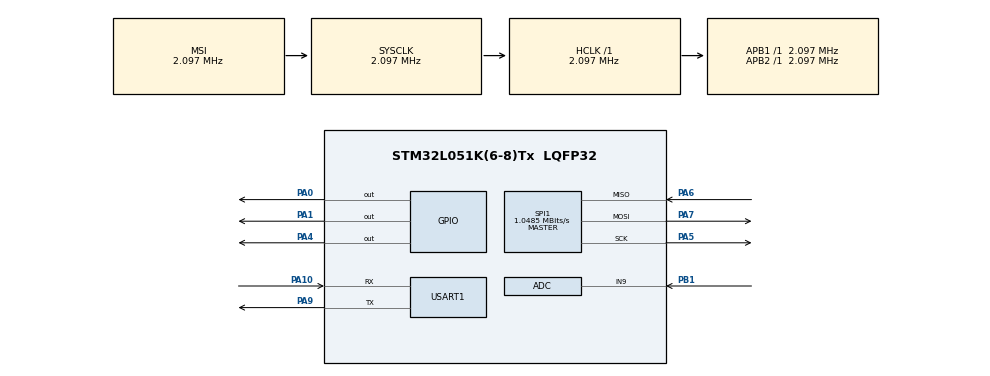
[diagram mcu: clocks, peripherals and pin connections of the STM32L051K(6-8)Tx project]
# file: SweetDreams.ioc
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ADC.ContinuousConvMode=ENABLE
ADC.DMAContinuousRequests=ENABLE
Dma.ADC.0.Direction=DMA_PERIPH_TO_MEMORY
Dma.ADC.0.Instance=DMA1_Channel1
Dma.ADC.0.MemDataAlignment=DMA_MDATAALIGN_BYTE
Dma.ADC.0.MemInc=DMA_MINC_ENABLE
Dma.ADC.0.Mode=DMA_CIRCULAR
Dma.ADC.0.PeriphDataAlignment=DMA_PDATAALIGN_BYTE
Dma.ADC.0.PeriphInc=DMA_PINC_DISABLE
Dma.ADC.0.Priority=DMA_PRIORITY_LOW
Dma.Request0=ADC
Mcu.Family=STM32L0
Mcu.Name=STM32L051K(6-8)Tx
Mcu.Package=LQFP32
NVIC.DMA1_Channel1_IRQn=true\:0\:0\:false\:false\:true\:false\:true\:true
NVIC.RTC_IRQn=true\:0\:0\:true\:false\:true\:true\:true\:true
PA0.PinState=GPIO_PIN_SET
PA0.Signal=GPIO_Output
PA1.Signal=GPIO_Output
PA10.Mode=Asynchronous
PA10.Signal=USART1_RX
PA4.PinState=GPIO_PIN_SET
PA4.Signal=GPIO_Output
PA5.Mode=Full_Duplex_Master
PA5.Signal=SPI1_SCK
PA6.Mode=Full_Duplex_Master
PA6.Signal=SPI1_MISO
PA7.Mode=Full_Duplex_Master
PA7.Signal=SPI1_MOSI
PA9.Mode=Asynchronous
PA9.Signal=USART1_TX
PB1.Mode=IN9
PB1.Signal=ADC_IN9
ProjectManager.HeapSize=0x200
ProjectManager.StackSize=0x400
ProjectManager.TargetToolchain=STM32CubeIDE
RCC.AHBFreq_Value=2097000
RCC.APB1Freq_Value=2097000
RCC.APB1TimFreq_Value=2097000
RCC.APB2Freq_Value=2097000
RCC.APB2TimFreq_Value=2097000
RCC.HCLKFreq_Value=2097000
RCC.HSI16_VALUE=16000000
RCC.HSI_VALUE=16000000
RCC.LSE_VALUE=32768
RCC.MSI_VALUE=2097000
RCC.SYSCLKFreq_VALUE=2097000
RCC.VCOOutputFreq_Value=48000000
RTC.HourFormat=RTC_HOURFORMAT_24
RTC.WakeUpCounter=0x5A56
SPI1.CalculateBaudRate=1.0485 MBits/s
SPI1.Direction=SPI_DIRECTION_2LINES
SPI1.Mode=SPI_MODE_MASTER
SPI1.VirtualType=VM_MASTER
USART1.SwapParam=ADVFEATURE_SWAP_ENABLE
USART1.VirtualMode-Asynchronous=VM_ASYNC
VP_RTC_VS_RTC_Activate.Mode=RTC_Enabled
VP_RTC_VS_RTC_WakeUp_intern.Mode=WakeUp
board=custom

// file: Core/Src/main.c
/* USER CODE BEGIN Header */
/**
  ******************************************************************************
  * @file           : main.c
  * @brief          : Main program body
  ******************************************************************************
  * @attention
  *
  * Copyright (c) 2023 STMicroelectronics.
  * All rights reserved.
  *
  * This software is licensed under terms that can be found in the LICENSE file
  * in the root directory of this software component.
  * If no LICENSE file comes with this software, it is provided AS-IS.
  *
  ******************************************************************************
  */
/* USER CODE END Header */
#include "main.h"

/* USER CODE BEGIN Includes */
#include "bme280.h"
#include "bma456.h"
#include <stdio.h>
#include <string.h>
/* USER CODE END Includes */

/* USER CODE BEGIN PD */
//#define BUFFER_SIZE 128
//#define receive_size 1
#define BITES_TO_SEND 8
/* USER CODE END PD */

ADC_HandleTypeDef hadc;
DMA_HandleTypeDef hdma_adc;

RTC_HandleTypeDef hrtc;

SPI_HandleTypeDef hspi1;

UART_HandleTypeDef huart1;

/* USER CODE BEGIN PV */
//char ATcommand[64];
uint16_t ble_msg_len;
uint16_t i = 0;
//char buffer[BUFFER_SIZE];
//int bufferIndex = 0;
//uint8_t received_byte[10];
char Temp[10];
char Hum[10];
uint16_t adc_buffer[32];
/* USER CODE END PV */

void SystemClock_Config(void);
static void MX_GPIO_Init(void);
static void MX_DMA_Init(void);
static void MX_ADC_Init(void);
static void MX_USART1_UART_Init(void);
static void MX_SPI1_Init(void);
static void MX_RTC_Init(void);

/* USER CODE BEGIN 0 */
#define SENSOR_BUS hspi1;
struct bme280_dev dev;
struct bme280_data comp_data;
void BMA456_SPI_Read(uint8_t reg_addr, uint8_t *reg_data, uint32_t len_addr, uint32_t len_data);
void BMA456_SPI_Write(uint8_t reg_addr, uint8_t reg_data);

void Tensometr();
void Sleep();
void BME_PRINT();
void BMA_PRINT();
uint8_t BMA456_Check_Connection();
void BMA456_Get_Sensor_Data(uint8_t *data_read);
uint8_t data_read[BITES_TO_SEND];
int16_t data_read_readable[3];
char axes[]={'x', 'y','z'};
//void SendMSG(char* cmd){
//	  ble_msg_len= strlen(cmd);
//
//	  strcpy(ATcommand,cmd);
//	  ATcommand[ble_msg_len++]='\r';
////
//
////      received_byte[9] = '\0'; // Null-terminate the buffer
////	  memset( received_byte, 0, 10);
//	  HAL_UART_Transmit(&huart1,(uint8_t *)ATcommand,ble_msg_len,HAL_MAX_DELAY);
//	  HAL_Delay(1000);
//	  for(uint8_t u; u<64; u++){
//		  ATcommand[u]=0;
//	  }
//
//
//}

//void HAL_UART_RxCpltCallback(UART_HandleTypeDef *huart);
void HAL_ADC_ConvHalfCpltCallback(ADC_HandleTypeDef* hadc);
void HAL_ADC_ConvCpltCallback(ADC_HandleTypeDef* hadc);
/* USER CODE END 0 */

int main(void)
{

  /* MCU Configuration--------------------------------------------------------*/

  /* Reset of all peripherals, Initializes the Flash interface and the Systick. */
  HAL_Init();

  /* Configure the system clock */
  SystemClock_Config();

  /* Initialize all configured peripherals */
  MX_GPIO_Init();
  MX_DMA_Init();
  MX_ADC_Init();
  MX_USART1_UART_Init();
  MX_SPI1_Init();
  MX_RTC_Init();
  /* USER CODE BEGIN 2 */
  HAL_Delay(800);
  HAL_ADC_Start_DMA(&hadc, adc_buffer,32);
  //HAL_UART_Receive_IT(&huart1,  received_byte,2);
  HAL_Delay(800);
  int8_t rslt_bme = bme280_init(&dev);
  if (rslt_bme != BME280_OK)
  {
	  while(1);
  }
  HAL_Delay(100);
  uint8_t rslt_bma = BMA456_Check_Connection();
  if(rslt_bma != 1)
  {
	  while(1);
  }
  HAL_Delay(100);
  stream_sensor_data_normal_mode(&dev);
  BMA456_Init();
//  HAL_TIM_Base_Start_IT(&htim6);
  //uint8_t rslt_bme = BME280_Check_Connection(&hspi1);
//  HAL_Delay(1000);
//  HAL_UART_Transmit(&huart1,"^", 1,250);
//  HAL_Delay(250);
//  HAL_UART_Transmit(&huart1,"^", 1,250);
//  HAL_Delay(250);
//  HAL_UART_Transmit(&huart1,"^", 1,250);
//  HAL_Delay(250);
//  HAL_UART_Transmit(&huart1,"^", 1,250);
//  HAL_Delay(1000);
//  SendMSG("AT");
//
//
//  HAL_Delay(1000);
//  SendMSG("AT&F");
//
//
//  HAL_Delay(1000);
//  SendMSG("AT%S 0=\"SweetDreams\""); // ustawienie device name
//
//
//  HAL_Delay(1000);
//  SendMSG("AT%S 1=\"2154657374776961646F6D6F73636921\""); //UUID
//
//
//  HAL_Delay(1000);
//  SendMSG("ATS 100=1"); // VSP And start advertow
//
//
//  HAL_Delay(1000);
//  SendMSG("ATS 100=?"); // VSP And start advertow
//
//
//  HAL_Delay(1000);
//
//  SendMSG("ATS 101=4"); // 4dBm
//
//  HAL_Delay(800);
//  SendMSG("ATS 103=0"); // nazwe ustawia na ta wczesniej wpisana
//
//
//  HAL_Delay(1000);
//  SendMSG("ATS 106=100"); // ustawia 100 sekund na skanowanie
////  HAL_Delay(800);
////  SendMSG("ATS 108=3"); // ustawia tryb advertow dla nonvsp
//
//
//
//
//  HAL_Delay(1000);
//  SendMSG("ATS 109=0");
//  HAL_Delay(1000);
//  SendMSG("ATS 109?");
//  //adc_buffer;
//  HAL_Delay(1000);
// // received_byte[0];
//  SendMSG("ATS 201=200");  // interwal advertow vsp
//
//  HAL_Delay(1000);
//
//  SendMSG("ATS 204=256");  // tx bufor vsp
//
//  HAL_Delay(1000);
//
//  SendMSG("ATS 205=256");  // rx bufor vsp
//
//  HAL_Delay(1000);
//
//  SendMSG("ATS 301=7500");  //vsp connection interval
//
//  HAL_Delay(1000);
//
//
//  SendMSG("AT&W"); // zapis rejestru S
//  HAL_Delay(1000);
//
//
//  SendMSG("ATZ"); //restart
//  HAL_Delay(1000);

//
//  printf("Kuniec \r\n");
  //SendMSG("AT+LSCN, 500"); //start scanowania do vsp z limitem 500 sekund

  HAL_Delay(800);
  /* USER CODE END 2 */

  /* Infinite loop */
  /* USER CODE BEGIN WHILE */
//  uint8_t Sum[2];
//  Sum[0] = rslt_a;
//  Sum[1] = rslt_e;
 // char Sum_s[2][4];

//  itoa(rslt_bma, Sum_s[0], 10);
//  itoa(rslt_bme, Sum_s[1], 10);
//
//  for(int i=strlen(Sum_s[0]); i<=3; i++){
//	  Sum_s[0][i]=' ';
//  }
//
//  for(int i=strlen(Sum_s[1]); i<=3; i++){
//	  Sum_s[1][i]=' ';
//  }

  while (1)
  {
	  	HAL_Delay(100);
	  	Tensometr(adc_buffer);
	  	HAL_Delay(100);
	  	BME_PRINT();
	 	HAL_Delay(200);
	 	BMA_PRINT();
	 	HAL_Delay(200);
		Sleep();
		HAL_Delay(100);
    /* USER CODE END WHILE */

  }
}

void SystemClock_Config(void)
{
  RCC_OscInitTypeDef RCC_OscInitStruct = {0};
  RCC_ClkInitTypeDef RCC_ClkInitStruct = {0};
  RCC_PeriphCLKInitTypeDef PeriphClkInit = {0};

  /** Configure the main internal regulator output voltage
  */
  __HAL_PWR_VOLTAGESCALING_CONFIG(PWR_REGULATOR_VOLTAGE_SCALE1);

  /** Initializes the RCC Oscillators according to the specified parameters
  * in the RCC_OscInitTypeDef structure.
  */
  RCC_OscInitStruct.OscillatorType = RCC_OSCILLATORTYPE_LSI|RCC_OSCILLATORTYPE_MSI;
  RCC_OscInitStruct.LSIState = RCC_LSI_ON;
  RCC_OscInitStruct.MSIState = RCC_MSI_ON;
  RCC_OscInitStruct.MSICalibrationValue = 0;
  RCC_OscInitStruct.MSIClockRange = RCC_MSIRANGE_5;
  RCC_OscInitStruct.PLL.PLLState = RCC_PLL_NONE;
  if (HAL_RCC_OscConfig(&RCC_OscInitStruct) != HAL_OK)
  {
    Error_Handler();
  }

  /** Initializes the CPU, AHB and APB buses clocks
  */
  RCC_ClkInitStruct.ClockType = RCC_CLOCKTYPE_HCLK|RCC_CLOCKTYPE_SYSCLK
                              |RCC_CLOCKTYPE_PCLK1|RCC_CLOCKTYPE_PCLK2;
  RCC_ClkInitStruct.SYSCLKSource = RCC_SYSCLKSOURCE_MSI;
  RCC_ClkInitStruct.AHBCLKDivider = RCC_SYSCLK_DIV1;
  RCC_ClkInitStruct.APB1CLKDivider = RCC_HCLK_DIV1;
  RCC_ClkInitStruct.APB2CLKDivider = RCC_HCLK_DIV1;

  if (HAL_RCC_ClockConfig(&RCC_ClkInitStruct, FLASH_LATENCY_0) != HAL_OK)
  {
    Error_Handler();
  }
  PeriphClkInit.PeriphClockSelection = RCC_PERIPHCLK_USART1|RCC_PERIPHCLK_RTC;
  PeriphClkInit.Usart1ClockSelection = RCC_USART1CLKSOURCE_PCLK2;
  PeriphClkInit.RTCClockSelection = RCC_RTCCLKSOURCE_LSI;
  if (HAL_RCCEx_PeriphCLKConfig(&PeriphClkInit) != HAL_OK)
  {
    Error_Handler();
  }
}

static void MX_ADC_Init(void)
{

  ADC_ChannelConfTypeDef sConfig = {0};

  /** Configure the global features of the ADC (Clock, Resolution, Data Alignment and number of conversion)
  */
  hadc.Instance = ADC1;
  hadc.Init.OversamplingMode = DISABLE;
  hadc.Init.ClockPrescaler = ADC_CLOCK_SYNC_PCLK_DIV1;
  hadc.Init.Resolution = ADC_RESOLUTION_12B;
  hadc.Init.SamplingTime = ADC_SAMPLETIME_1CYCLE_5;
  hadc.Init.ScanConvMode = ADC_SCAN_DIRECTION_FORWARD;
  hadc.Init.DataAlign = ADC_DATAALIGN_RIGHT;
  hadc.Init.ContinuousConvMode = ENABLE;
  hadc.Init.DiscontinuousConvMode = DISABLE;
  hadc.Init.ExternalTrigConvEdge = ADC_EXTERNALTRIGCONVEDGE_NONE;
  hadc.Init.ExternalTrigConv = ADC_SOFTWARE_START;
  hadc.Init.DMAContinuousRequests = ENABLE;
  hadc.Init.EOCSelection = ADC_EOC_SINGLE_CONV;
  hadc.Init.Overrun = ADC_OVR_DATA_PRESERVED;
  hadc.Init.LowPowerAutoWait = DISABLE;
  hadc.Init.LowPowerFrequencyMode = ENABLE;
  hadc.Init.LowPowerAutoPowerOff = DISABLE;
  if (HAL_ADC_Init(&hadc) != HAL_OK)
  {
    Error_Handler();
  }

  /** Configure for the selected ADC regular channel to be converted.
  */
  sConfig.Channel = ADC_CHANNEL_9;
  sConfig.Rank = ADC_RANK_CHANNEL_NUMBER;
  if (HAL_ADC_ConfigChannel(&hadc, &sConfig) != HAL_OK)
  {
    Error_Handler();
  }

}

static void MX_RTC_Init(void)
{

  /** Initialize RTC Only
  */
  hrtc.Instance = RTC;
  hrtc.Init.HourFormat = RTC_HOURFORMAT_24;
  hrtc.Init.AsynchPrediv = 127;
  hrtc.Init.SynchPrediv = 255;
  hrtc.Init.OutPut = RTC_OUTPUT_DISABLE;
  hrtc.Init.OutPutRemap = RTC_OUTPUT_REMAP_NONE;
  hrtc.Init.OutPutPolarity = RTC_OUTPUT_POLARITY_HIGH;
  hrtc.Init.OutPutType = RTC_OUTPUT_TYPE_OPENDRAIN;
  if (HAL_RTC_Init(&hrtc) != HAL_OK)
  {
    Error_Handler();
  }

  /** Enable the WakeUp
  */
  if (HAL_RTCEx_SetWakeUpTimer_IT(&hrtc, 0x5A56, RTC_WAKEUPCLOCK_RTCCLK_DIV16) != HAL_OK)
  {
    Error_Handler();
  }

}

static void MX_SPI1_Init(void)
{

  /* SPI1 parameter configuration*/
  hspi1.Instance = SPI1;
  hspi1.Init.Mode = SPI_MODE_MASTER;
  hspi1.Init.Direction = SPI_DIRECTION_2LINES;
  hspi1.Init.DataSize = SPI_DATASIZE_8BIT;
  hspi1.Init.CLKPolarity = SPI_POLARITY_LOW;
  hspi1.Init.CLKPhase = SPI_PHASE_1EDGE;
  hspi1.Init.NSS = SPI_NSS_SOFT;
  hspi1.Init.BaudRatePrescaler = SPI_BAUDRATEPRESCALER_2;
  hspi1.Init.FirstBit = SPI_FIRSTBIT_MSB;
  hspi1.Init.TIMode = SPI_TIMODE_DISABLE;
  hspi1.Init.CRCCalculation = SPI_CRCCALCULATION_DISABLE;
  hspi1.Init.CRCPolynomial = 7;
  if (HAL_SPI_Init(&hspi1) != HAL_OK)
  {
    Error_Handler();
  }

}

static void MX_USART1_UART_Init(void)
{

  huart1.Instance = USART1;
  huart1.Init.BaudRate = 115200;
  huart1.Init.WordLength = UART_WORDLENGTH_8B;
  huart1.Init.StopBits = UART_STOPBITS_1;
  huart1.Init.Parity = UART_PARITY_NONE;
  huart1.Init.Mode = UART_MODE_TX_RX;
  huart1.Init.HwFlowCtl = UART_HWCONTROL_NONE;
  huart1.Init.OverSampling = UART_OVERSAMPLING_16;
  huart1.Init.OneBitSampling = UART_ONE_BIT_SAMPLE_DISABLE;
  huart1.AdvancedInit.AdvFeatureInit = UART_ADVFEATURE_SWAP_INIT;
  huart1.AdvancedInit.Swap = UART_ADVFEATURE_SWAP_ENABLE;
  if (HAL_UART_Init(&huart1) != HAL_OK)
  {
    Error_Handler();
  }

}

static void MX_DMA_Init(void)
{

  /* DMA controller clock enable */
  __HAL_RCC_DMA1_CLK_ENABLE();

  /* DMA interrupt init */
  /* DMA1_Channel1_IRQn interrupt configuration */
  HAL_NVIC_SetPriority(DMA1_Channel1_IRQn, 0, 0);
  HAL_NVIC_EnableIRQ(DMA1_Channel1_IRQn);

}

static void MX_GPIO_Init(void)
{
  GPIO_InitTypeDef GPIO_InitStruct = {0};

  /* GPIO Ports Clock Enable */
  __HAL_RCC_GPIOA_CLK_ENABLE();
  __HAL_RCC_GPIOB_CLK_ENABLE();

  /*Configure GPIO pin Output Level */
  HAL_GPIO_WritePin(GPIOA, GPIO_PIN_0|GPIO_PIN_4, GPIO_PIN_SET);

  /*Configure GPIO pin Output Level */
  HAL_GPIO_WritePin(GPIOA, GPIO_PIN_1, GPIO_PIN_RESET);

  /*Configure GPIO pins : PA0 PA1 PA4 */
  GPIO_InitStruct.Pin = GPIO_PIN_0|GPIO_PIN_1|GPIO_PIN_4;
  GPIO_InitStruct.Mode = GPIO_MODE_OUTPUT_PP;
  GPIO_InitStruct.Pull = GPIO_NOPULL;
  GPIO_InitStruct.Speed = GPIO_SPEED_FREQ_LOW;
  HAL_GPIO_Init(GPIOA, &GPIO_InitStruct);

}

/* USER CODE BEGIN 4 */
void Tensometr(){
	float suma = 0;
	short wynik;
	short counter = 0;

	HAL_GPIO_WritePin(GPIOA, GPIO_PIN_1, GPIO_PIN_SET);
	HAL_Delay(1000);
	for(uint8_t i; i<sizeof(adc_buffer); i++){
		suma += adc_buffer[i];
		if(adc_buffer[i]!=0){
			counter++;
		}
	}
	suma=suma/counter;
	if(suma < 24000){
		wynik = 0;
	}
	else{
		wynik = 1;
	}
	if(wynik){
	  HAL_UART_Transmit(&huart1,"Lezy\r\n", 6,HAL_MAX_DELAY);
	}
	else{
	  HAL_UART_Transmit(&huart1,"Nie lezy\r\n", 10,HAL_MAX_DELAY);
	}
	HAL_Delay(1000);
	HAL_GPIO_WritePin(GPIOA, GPIO_PIN_1, GPIO_PIN_RESET);

}
void Sleep(){
	HAL_UART_Transmit(&huart1,"Ide spac\r\n", 10,HAL_MAX_DELAY);
	HAL_SuspendTick();
    HAL_RTCEx_SetWakeUpTimer_IT(&hrtc, 0x5A56, RTC_WAKEUPCLOCK_RTCCLK_DIV16);
    HAL_PWR_EnterSTOPMode(PWR_LOWPOWERREGULATOR_ON, PWR_STOPENTRY_WFI);
    HAL_RTCEx_DeactivateWakeUpTimer(&hrtc);
	SystemClock_Config();
    HAL_ResumeTick();
    HAL_UART_Transmit(&huart1,"Wstaje\r\n", 8,HAL_MAX_DELAY);
}
void BME_PRINT(){
	char TempCala[20] = "Temperatura: ";
	char HumCala[20] = "Wilgotnosc: ";

	bme280_get_sensor_data(BME280_HUM, &comp_data,&dev);
	sprintf(Temp, "%f",comp_data.temperature);
	sprintf(Hum, "%f",comp_data.humidity);
	strncat(TempCala,Temp,4);
	strncat(HumCala,Hum,4);
	strcat(TempCala,"\r\n");
	strcat(HumCala,"\r\n");
	HAL_UART_Transmit(&huart1,TempCala,19,HAL_MAX_DELAY);
	HAL_UART_Transmit(&huart1,HumCala,18,HAL_MAX_DELAY);

}
char x[10];
char y[10];
char z[10];
void measureAcc(int16_t *data_read_readable, uint8_t *data_read)
{
	BMA456_Get_Sensor_Data(data_read);
	data_read_readable[0] = (int16_t)data_read[1+2]*256 + data_read[0+2];
	data_read_readable[1] = (int16_t)data_read[3+2]*256 + data_read[2+2];
	data_read_readable[2] = (int16_t)data_read[5+2]*256 + data_read[4+2];
	HAL_Delay(100);
}
void BMA_PRINT(){
	char Grawitacja[20] = "Grawitacja: ";
//	char yCala[20] = "y: ";
//	char zCala[20] = "z: ";
//	for (int i=0; i<7;i++){
//		data_read[i]=0xff;
//	}
//	BMA456_Get_Sensor_Data(data_read);
//	int16_t data_read_readable[3];
//	data_read_readable[0] = (int16_t)data_read[1+2]*256 + data_read[0+2];
//	data_read_readable[1] = (int16_t)data_read[3+2]*256 + data_read[2+2];
//	data_read_readable[2] = (int16_t)data_read[5+2]*256 + data_read[4+2];
//	sprintf(x, "%d",data_read_readable[0]);
//	sprintf(y, "%d",data_read_readable[1]);
//	sprintf(z, "%d",data_read_readable[2]);
//	strncat(xCala,x,5);
//	strncat(yCala,y,5);
//	strncat(zCala,z,5);
//	strcat(xCala,"\r\n");
//	strcat(yCala,"\r\n");
//	strcat(zCala,"\r\n");
//	HAL_UART_Transmit(&huart1,xCala,10,HAL_MAX_DELAY);
//	HAL_UART_Transmit(&huart1,yCala,10,HAL_MAX_DELAY);
//	HAL_UART_Transmit(&huart1,zCala,10,HAL_MAX_DELAY);
	measureAcc(data_read_readable, data_read);
	  for (int i=0; i<3;i++){
		  if(data_read_readable[i]>1900 && data_read_readable[i]<2500 && data_read_readable[i]>data_read_readable[(i+1)%3] && data_read_readable[i]>data_read_readable[(i+2)%3]){
		  //printf("Grawitacja: %c\r\n", axes[i]);
		 // strncat(Grawitacja,axes[i],1);
	      Grawitacja[12] = axes[i];
		  strcat(Grawitacja,"\r\n");
		  HAL_UART_Transmit(&huart1,Grawitacja,15,HAL_MAX_DELAY);
	  }
		  if(data_read_readable[i]<-1900 && data_read_readable[i]>-2500 && data_read_readable[i]<data_read_readable[(i+1)%3] && data_read_readable[i]<data_read_readable[(i+2)%3]){
		  		 // printf("Grawitacja: - %c\r\n", axes[i]);
			  strcat(Grawitacja," - ");
			  Grawitacja[15] = axes[i];
			  strcat(Grawitacja,"\r\n");
			  HAL_UART_Transmit(&huart1,Grawitacja,18,HAL_MAX_DELAY);
		  	  }
	  }
}
void HAL_ADC_ConvHalfCpltCallback(ADC_HandleTypeDef* hadc){

}
void HAL_ADC_ConvCpltCallback(ADC_HandleTypeDef* hadc){

}
void BME280_SPI_Read(uint8_t reg_addr, uint8_t *reg_data, uint32_t len)
{
    reg_addr = reg_addr | 0x80;

    HAL_GPIO_WritePin(GPIOA, GPIO_PIN_4, GPIO_PIN_RESET);

    HAL_SPI_Transmit(&hspi1, &reg_addr, 1, 1000);
	HAL_SPI_Receive(&hspi1, reg_data, len, 1000);

	HAL_GPIO_WritePin(GPIOA, GPIO_PIN_4, GPIO_PIN_SET);
}

void BME280_SPI_Write(uint8_t reg_addr, uint8_t *reg_data, uint32_t len)
{
    reg_addr = reg_addr & 0x7F;

    HAL_GPIO_WritePin(GPIOA, GPIO_PIN_4, GPIO_PIN_RESET);

    HAL_SPI_Transmit(&hspi1, &reg_addr, 1, 1000);
    HAL_SPI_Transmit(&hspi1, reg_data, len, 1000);

    HAL_GPIO_WritePin(GPIOA, GPIO_PIN_4, GPIO_PIN_SET);
}

void stream_sensor_data_normal_mode(struct bme280_dev *dev)
{
	//int8_t rslt;
	uint8_t settings_sel;
	//struct bme280_data comp_data;

	/* Recommended mode of operation: Indoor navigation */
	dev->settings.osr_h = BME280_OVERSAMPLING_1X;
	dev->settings.osr_p = BME280_NO_OVERSAMPLING; // BME280_OVERSAMPLING_16X;
	dev->settings.osr_t = BME280_OVERSAMPLING_2X;
	//dev->settings.filter = BME280_FILTER_COEFF_16;
	//dev->settings.standby_time = BME280_STANDBY_TIME_62_5_MS;

	//settings_sel = BME280_OSR_PRESS_SEL;
	settings_sel = BME280_OSR_TEMP_SEL; // |= BME280_OSR_TEMP_SEL;
	settings_sel |= BME280_OSR_HUM_SEL;
	settings_sel |= BME280_STANDBY_SEL;
	settings_sel |= BME280_FILTER_SEL;
	bme280_set_sensor_settings(settings_sel, dev);
	bme280_set_sensor_mode(BME280_NORMAL_MODE, dev);

}

uint8_t BMA456_Check_Connection()
{
	uint8_t reg_addr = 0x00;
	reg_addr |= 0x80;
	uint8_t reg_addr_tab[2];
	reg_addr_tab[0] = reg_addr;
	uint8_t reg_data[2];

	do{
    HAL_GPIO_WritePin(GPIOA, GPIO_PIN_0, GPIO_PIN_RESET);

    HAL_SPI_TransmitReceive(&hspi1, reg_addr_tab,reg_data, 2, 1000);

    HAL_GPIO_WritePin(GPIOA, GPIO_PIN_0, GPIO_PIN_SET);
	}while(reg_data[1] != 0x16);

    return 1;

}

void BMA456_Init()
{
//  HAL_GPIO_WritePin(GPIOB, GPIO_PIN_8, GPIO_PIN_SET);

	//BMA456_SPI_Write(BMA456_PWR_CONF, 0x02, &hspi2);
	//HAL_Delay(10);

	//BMA456_SPI_Write(BMA456_PWR_CTRL, 0x00, &hspi2);
	//HAL_Delay(10);

	BMA456_SPI_Write(BMA456_CMD, 0xB6);
	HAL_Delay(10);

	BMA456_SPI_Write(BMA456_PWR_CONF, 0x00);
	HAL_Delay(10);

	BMA456_SPI_Write(BMA456_INIT_CTRL, 0x00);
	HAL_Delay(10);

	BMA456_SPI_Write(0x41, 0x03);
	HAL_Delay(10);

	BMA456_SPI_Write(BMA456_INIT_CTRL, 0x01);
	HAL_Delay(10);

	HAL_Delay (150);

	BMA456_SPI_Write(BMA456_PWR_CTRL, 0x04);
	HAL_Delay(10);

	BMA456_SPI_Write(BMA456_ACC_CONF, 0x17);
	HAL_Delay(10);

	BMA456_SPI_Write(BMA456_PWR_CONF, 0x03);
	HAL_Delay(10);
}

void BMA456_Get_Sensor_Data(uint8_t *data_read)
{
	uint8_t reg_addr = 0x12;
	reg_addr |= 0x80;
	uint8_t data_sent[BITES_TO_SEND];
	data_sent[0] = reg_addr;

	//while(1){
	  HAL_GPIO_WritePin(GPIOA, GPIO_PIN_0, GPIO_PIN_RESET);
	  HAL_SPI_TransmitReceive(&hspi1, data_sent, data_read, BITES_TO_SEND, 100);
	  HAL_GPIO_WritePin(GPIOA, GPIO_PIN_0, GPIO_PIN_SET);

	//}
}
void BMA456_SPI_Read(uint8_t reg_addr, uint8_t *reg_data, uint32_t len_addr, uint32_t len_data)
{
	reg_addr |= 0x80;

    HAL_GPIO_WritePin(GPIOA, GPIO_PIN_0, GPIO_PIN_RESET);

    HAL_SPI_Transmit(&hspi1, &reg_addr, len_addr, 1000);
	HAL_SPI_Receive(&hspi1, reg_data, len_data, 1000);

    HAL_GPIO_WritePin(GPIOA, GPIO_PIN_0, GPIO_PIN_SET);

}
void BMA456_SPI_Write(uint8_t reg_addr, uint8_t reg_data)
{
	uint8_t reg_data_tab[2];
	reg_data_tab[0] = reg_addr & 0x7F;
	reg_data_tab[1] = reg_data;

    HAL_GPIO_WritePin(GPIOA, GPIO_PIN_0, GPIO_PIN_RESET);

	HAL_SPI_Transmit(&hspi1, reg_data_tab, 2, 1000);

    HAL_GPIO_WritePin(GPIOA, GPIO_PIN_0, GPIO_PIN_SET);
}
//short FunctionChoiceFlag = 0;
//void HAL_TIM_PeriodElapsedCallback(TIM_HandleTypeDef* htim)
//{
//
//	if (htim == &htim6)
//	  {
//		if(FunctionChoiceFlag == 0){
//			BME_PRINT();
//			FunctionChoiceFlag = 1;
//		}
//		else if(FunctionChoiceFlag == 1){
//			Tensometr(adc_buffer);
//			FunctionChoiceFlag = 2;
//		}
//		else if(FunctionChoiceFlag == 2){
//			Sleep();
//			FunctionChoiceFlag = 0;
//		}
////		BME_PRINT();
////		HAL_Delay(1000);
////		Tensometr(adc_buffer);
////		HAL_Delay(100);
////		Sleep();
////		HAL_Delay(100);
//	  }
//
//}

//void HAL_UART_RxCpltCallback(UART_HandleTypeDef *huart)
//{
//
//	HAL_UART_Receive_IT(&huart1,received_byte,2);
//
//	buffer[bufferIndex] = received_byte[0];
//	bufferIndex++;
//	buffer[bufferIndex] = received_byte[1];
//	bufferIndex++;
//}
/* USER CODE END 4 */

void Error_Handler(void)
{
  __disable_irq();
  while (1)
  {
  }
}
